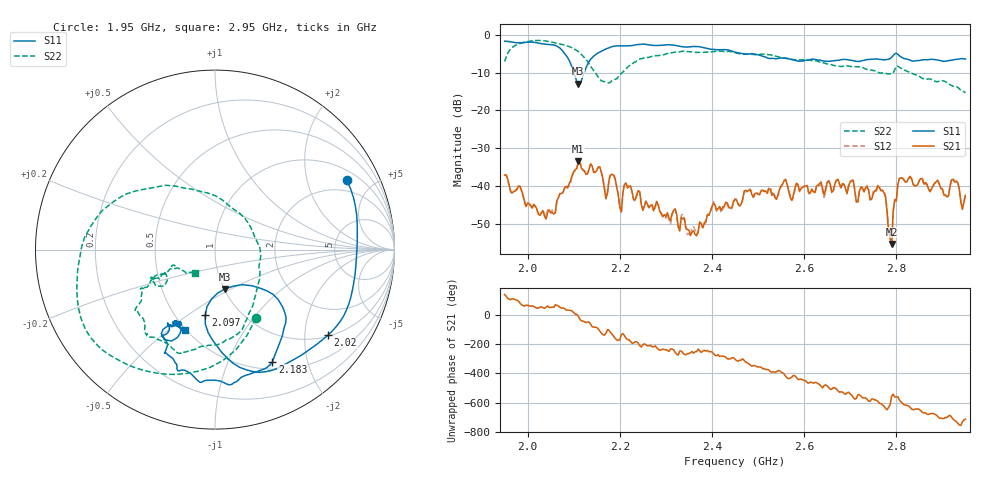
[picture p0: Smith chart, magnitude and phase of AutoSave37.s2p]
!Agilent N9923A: A.07.32
!Date: Thursday, 02 June 2016 23:14:21
!Model: N9923A
!Serial: MY52412257
!GPS Latitude:
!GPS Longitude:
!GPS TimeStamp: 0001-01-01 00:00:00Z
!GPS Seconds Since Last Read: 0
!CHECKSUM:0163720011
!Correction: S11(ON U)S21(ON U)S12(ON U)S22(ON U)
!S2P File: Measurements:S11,S21,S12,S22:
# Hz S DB R 50
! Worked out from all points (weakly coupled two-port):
!   301 points, 1.95 GHz to 2.95 GHz, reference 50 ohm
!   highest |S21| = -33.37 dB at 2.11 GHz (marker M1); lowest = -55.4 dB at 2.79 GHz (marker M2)
!   lowest |S11| = -12.9 dB at 2.11 GHz (marker M3), VSWR 1.58, Z = 50.5 - j23.3 ohm
!   |S11| at or under -10 dB: 2.1 GHz to 2.123 GHz (22.17 MHz wide, 1.05 % of centre)
!   |S22| runs from -15.3 to -1.4 dB; largest |S21 - S12| = 0.00089
!   S11 on the Smith chart (normalised r, x): 1.95 GHz: 1.42, +3.52; 2.02 GHz: 1.03, -2.61; 2.097 GHz: 0.69, -0.59; 2.183 GHz: 0.59, -1.46; 2.95 GHz: 0.49, -0.57
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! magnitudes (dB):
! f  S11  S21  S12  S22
! 1.95 GHz  -1.6  -37.1  -37.3  -7.0
! 2.02 GHz  -2.0  -46.2  -46.4  -1.4
! 2.057 GHz  -2.6  -47.5  -46.9  -2.0
! 2.097 GHz  -8.6  -37.2  -37.6  -3.4
! 2.11 GHz  -12.9  -33.4  -33.4  -4.4
! 2.12 GHz  -10.9  -35.8  -35.8  -5.6
! 2.157 GHz  -4.5  -35.0  -35.0  -11.8
! 2.17 GHz  -3.7  -43.4  -43.4  -12.5
! 2.183 GHz  -3.1  -37.0  -36.8  -12.0
! 2.203 GHz  -2.9  -46.9  -47.3  -10.2
! 2.213 GHz  -2.9  -39.2  -39.1  -9.0
! 2.287 GHz  -2.7  -46.7  -46.8  -5.4
! 2.367 GHz  -3.0  -53.2  -53.0  -4.6
! 2.453 GHz  -4.6  -43.8  -43.5  -4.8
! 2.62 GHz  -6.4  -41.6  -41.7  -6.9
! 2.76 GHz  -6.4  -39.9  -40.0  -9.8
! 2.777 GHz  -6.5  -43.0  -42.5  -10.1
! 2.783 GHz  -6.4  -52.2  -50.9  -10.3
! 2.79 GHz  -5.9  -55.4  -56.0  -10.2
! 2.793 GHz  -5.5  -46.7  -46.8  -10.0
! 2.807 GHz  -5.5  -38.0  -38.0  -8.5
! 2.95 GHz  -6.4  -42.6  -41.9  -15.3
